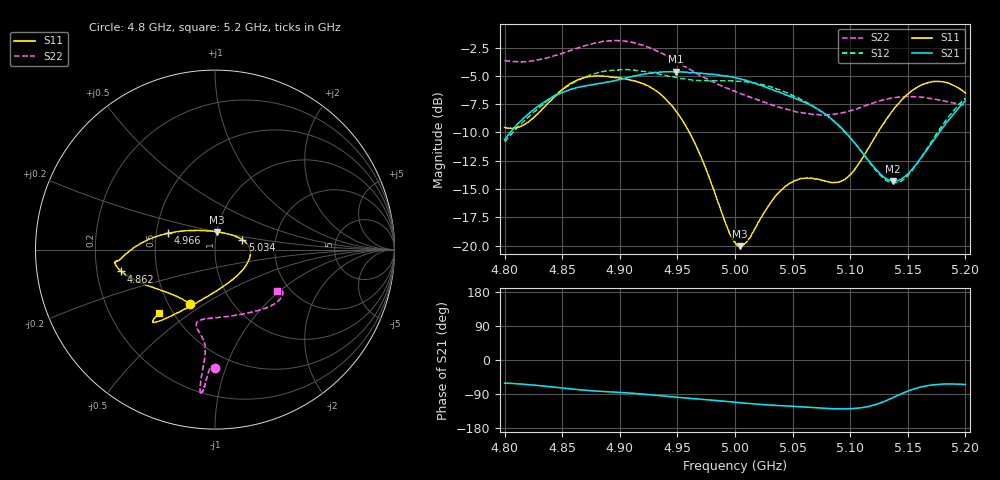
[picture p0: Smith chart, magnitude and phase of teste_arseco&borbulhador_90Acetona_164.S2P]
! Network Analyzer HP8722D
! Hewlett-Packard
! Data name: Linha & Wilkinson
! Saver's name: Rodrigo Anjos
! Comments: Teste da utilização de aquisição
! continua pelo VNA HP8722D
! Time and date: 17/4/2025 12:25
!  Frequency  S11  S21  S12  S22
# HZ  S  MA R 50
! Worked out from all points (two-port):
!   401 points, 4.8 GHz to 5.2 GHz, reference 50 ohm
!   highest |S21| = -4.62 dB at 4.949 GHz (marker M1); lowest = -14.3 dB at 5.137 GHz (marker M2)
!   |S21| within 3 dB of the highest: 4.83 GHz to 5.066 GHz (235.7 MHz wide, 4.76 % of centre); 5.196086 GHz to end of sweep
!   lowest |S11| = -20.0 dB at 5.004 GHz (marker M3), VSWR 1.22, Z = 50.1 + j10 ohm
!   |S11| at or under -10 dB: 4.96 GHz to 5.124 GHz (163.5 MHz wide, 3.24 % of centre)
!   |S22| runs from -8.5 to -1.9 dB; largest |S21 - S12| = 0.88
!   S11 on the Smith chart (normalised r, x): 4.8 GHz: 0.64, -0.44; 4.862 GHz: 0.31, -0.10; 4.966 GHz: 0.58, +0.11; 5.034 GHz: 1.35, +0.15; 5.2 GHz: 0.42, -0.38
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4.8e9  0.3333 -114.3  0.2936 -61.1  0.2873 -175.4  0.6572 -90.0
4.819e9  0.3475 -134.4  0.3748 -64.7  0.3625 -174.1  0.6523 -91.7
4.862e9  0.5357 -166.9  0.498 -77.5  0.5309 -177.3  0.7436 -94.0
4.867e9  0.5478 -168.8  0.5048 -79.0  0.5468 -178.3  0.7569 -94.3
4.898e9  0.5513 -173.3  0.5391 -85.2  0.5963 175.5  0.8043 -95.5
4.934e9  0.4728 -179.5  0.5825 -93.8  0.5728 171.5  0.7156 -96.1
4.949e9  0.3913 173.1  0.5876 -97.9  0.553 171.9  0.6521 -95.8
4.966e9  0.2774 160.9  0.5802 -102.3  0.5369 173.5  0.5791 -95.3
4.993e9  0.1212 119.3  0.5616 -109.4  0.5335 175.9  0.4966 -98.1
5e9  0.1035 97.7  0.5531 -111.6  0.533 175.8  0.4796 -99.6
5.004e9  0.09945 83.8  0.5465 -112.5  0.5311 175.7  0.4711 -100.5
5.012e9  0.1073 58.2  0.531 -114.6  0.5269 175.5  0.4547 -102.2
5.034e9  0.1626 19.6  0.4841 -119.4  0.4973 174.5  0.4149 -103.8
5.05e9  0.1915 3.5  0.4538 -122.3  0.4612 173.8  0.3951 -99.9
5.067e9  0.1986 -14.8  0.4141 -125.4  0.4156 173.3  0.3804 -90.9
5.087e9  0.19 -46.9  0.3495 -128.5  0.3485 173.5  0.381 -75.6
5.098e9  0.2009 -69.6  0.3082 -128.6  0.3076 174.6  0.3909 -66.4
5.134e9  0.3773 -117.7  0.1945 -103.6  0.1908 -156.5  0.4469 -43.2
5.137e9  0.3952 -119.4  0.1924 -99.7  0.1891 -151.7  0.4494 -41.8
5.15e9  0.4667 -125.3  0.2074 -82.2  0.2041 -131.8  0.4552 -36.9
5.17e9  0.528 -129.9  0.2804 -66.3  0.2853 -112.5  0.4467 -32.3
5.2e9  0.4722 -131.5  0.4362 -64.7  0.4478 -106.9  0.4163 -33.8
